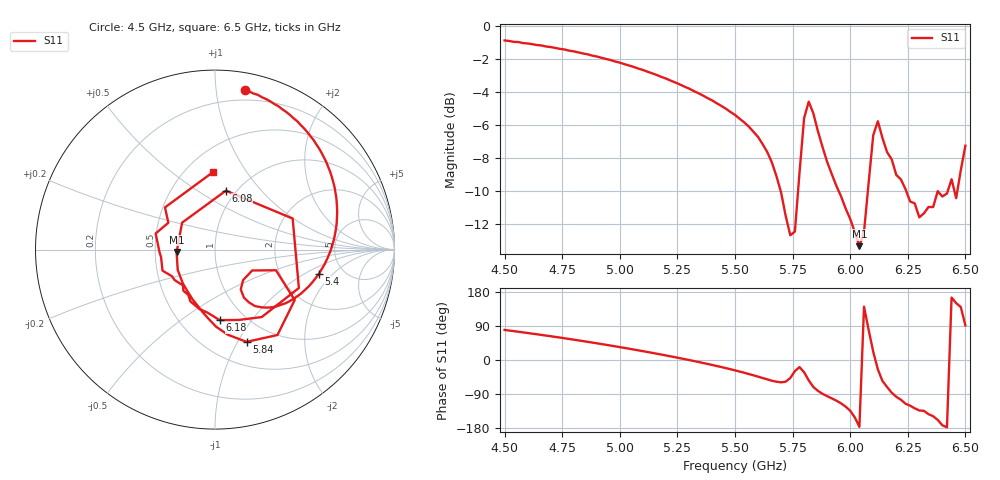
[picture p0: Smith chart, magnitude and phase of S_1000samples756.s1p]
! TOUCHSTONE file generated by CST MICROWAVE STUDIO
! Date and time: Sat Oct 29 06:53:31 2022
! Project name: L.cst
! Parameters = {Di=1.27; Epsilon_r=1.56; InnerDiameter=1.27; Length=2; Lf=10; Lg=60; OuterConductorThickness=0.2921; OuterDiameter=3.6; Wf=3; Wp=41.2; de=1.5; df=6.8; g=0.8; gx=0.981041; gy=2.97025; h=2.34; hf=1.524; px=9.56577; py=14.6404; w=9.7; wx=8.58473; wy=11.6701}
! Header version: 2018
! Port assignment regex: !\s*Touchstone port\s*([0-9]+)\s*=\s*(CST MWS port|CST DS port)\s*([0-9]+|Zmin|Zmax)\s*\(\"(.*)\"\)(\s*mode\s*([0-9]+))?.*
! Touchstone port assignment:
! Touchstone port 1 = CST MWS port 1 ("")
# GHz S DB R 50
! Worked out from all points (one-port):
!   101 points, 4.5 GHz to 6.5 GHz, reference 50 ohm
!   lowest |S11| = -13.4 dB at 6.04 GHz (marker M1), VSWR 1.55, Z = 32.4 - j0.911 ohm
!   |S11| at or under -10 dB: 5.698 GHz to 5.774 GHz (76.12 MHz wide, 1.33 % of centre); 5.949 GHz to 6.077 GHz (127.6 MHz wide, 2.12 % of centre); 6.242 GHz to 6.424 GHz (181.6 MHz wide, 2.87 % of centre)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
!   S11 on the Smith chart (normalised r, x): 4.5 GHz: 0.12, +1.20; 5.4 GHz: 3.32, -1.37; 5.84 GHz: 0.75, -1.09; 6.08 GHz: 0.90, +0.66; 6.18 GHz: 0.77, -0.71; 6.5 GHz: 0.67, +0.72
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4.5  -0.87 79.5
4.76  -1.42 57.3
5  -2.22 34.0
5.26  -3.54 4.9
5.4  -4.51 -13.0
5.5  -5.40 -27.3
5.66  -8.28 -54.7
5.72  -11.54 -57.2
5.76  -12.49 -29.3
5.78  -8.91 -18.7
5.8  -5.59 -32.3
5.82  -4.59 -53.8
5.84  -5.30 -71.1
5.88  -7.35 -89.3
6  -11.72 -133.9
6.04  -13.38 -176.4
6.06  -12.51 140.7
6.08  -9.53 79.6
6.1  -6.63 21.8
6.12  -5.78 -24.6
6.14  -6.80 -55.3
6.18  -8.09 -86.2
6.26  -10.66 -120.5
6.38  -10.03 -158.2
6.44  -9.31 164.8
6.46  -10.46 150.0
6.48  -8.76 139.9
6.5  -7.27 91.3
